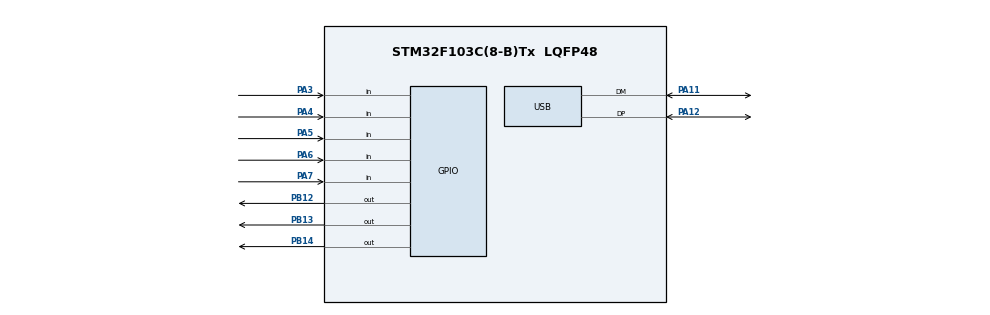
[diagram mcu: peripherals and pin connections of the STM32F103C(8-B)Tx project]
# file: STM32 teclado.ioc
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Mcu.Family=STM32F1
Mcu.Name=STM32F103C(8-B)Tx
Mcu.Package=LQFP48
NVIC.PriorityGroup=NVIC_PRIORITYGROUP_4
NVIC.USB_LP_CAN1_RX0_IRQn=true\:0\:0\:false\:false\:true\:false\:true\:true
PA11.Mode=Device
PA11.Signal=USB_DM
PA12.Mode=Device
PA12.Signal=USB_DP
PA13.Mode=Serial_Wire
PA13.Signal=SYS_JTMS-SWDIO
PA14.Mode=Serial_Wire
PA14.Signal=SYS_JTCK-SWCLK
PA3.Signal=GPIO_Input
PA4.Signal=GPIO_Input
PA5.Signal=GPIO_Input
PA6.Signal=GPIO_Input
PA7.Signal=GPIO_Input
PB12.Signal=GPIO_Output
PB13.Signal=GPIO_Output
PB14.Signal=GPIO_Output
PD0-OSC_IN.Mode=HSE-External-Oscillator
PD0-OSC_IN.Signal=RCC_OSC_IN
PD1-OSC_OUT.Mode=HSE-External-Oscillator
PD1-OSC_OUT.Signal=RCC_OSC_OUT
ProjectManager.HeapSize=0x200
ProjectManager.StackSize=0x400
ProjectManager.TargetToolchain=STM32CubeIDE
RCC.AHBFreq_Value=48000000
RCC.APB1CLKDivider=RCC_HCLK_DIV2
RCC.APB1Freq_Value=24000000
RCC.APB1TimFreq_Value=48000000
RCC.APB2Freq_Value=48000000
RCC.APB2TimFreq_Value=48000000
RCC.HCLKFreq_Value=48000000
RCC.PLLMUL=RCC_PLL_MUL6
RCC.SYSCLKFreq_VALUE=48000000
RCC.SYSCLKSource=RCC_SYSCLKSOURCE_PLLCLK
RCC.USBFreq_Value=48000000
USB_DEVICE.CLASS_NAME_FS=HID
USB_DEVICE.VirtualMode=Hid
USB_DEVICE.VirtualModeFS=Hid_FS
VP_USB_DEVICE_VS_USB_DEVICE_HID_FS.Mode=HID_FS
board=custom

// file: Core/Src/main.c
	/* USER CODE BEGIN Header */
	/**
	  ******************************************************************************
	  * @file           : main.c
	  * @brief          : Main program body
	  ******************************************************************************
	  * @attention
	  *
	  * Copyright (c) 2025 STMicroelectronics.
	  * All rights reserved.
	  *
	  * This software is licensed under terms that can be found in the LICENSE file
	  * in the root directory of this software component.
	  * If no LICENSE file comes with this software, it is provided AS-IS.
	  *
	  ******************************************************************************
	  */
	/* USER CODE END Header */
	/* Includes ------------------------------------------------------------------*/
	#include "main.h"
	#include "usb_device.h"

	/* Private includes ----------------------------------------------------------*/

	/* Private typedef -----------------------------------------------------------*/

	/* Private define ------------------------------------------------------------*/

	/* Private macro -------------------------------------------------------------*/

	/* Private variables ---------------------------------------------------------*/

	/* USER CODE BEGIN PV */
	extern USBD_HandleTypeDef hUsbDeviceFS;

	typedef struct
	{
		uint8_t MODIFIER;
		uint8_t RESERVED;
		uint8_t KEYCODE1;
		uint8_t KEYCODE2;
		uint8_t KEYCODE3;
		uint8_t KEYCODE4;
		uint8_t KEYCODE5;
		uint8_t KEYCODE6;
	}subKeyBoard;

	subKeyBoard keyBoardHIDsub = {0,0,0,0,0,0,0,0};

	/* USER CODE END PV */

	/* Private function prototypes -----------------------------------------------*/
	void SystemClock_Config(void);
	static void MX_GPIO_Init(void);

	/* Private user code ---------------------------------------------------------*/
	/* USER CODE BEGIN 0 */

	void typeOnKeyboard(char cmd[]){

		for(int i = 0; i < strlen(cmd); i++) {
			char charToType = cmd[i];
			uint8_t KEYCODE = 0x00;
			uint8_t MODIFIER = 0x00;

			switch(charToType) {
				case 'A': KEYCODE = 0x04; MODIFIER=0x02; break;
				case 'B': KEYCODE = 0x05; MODIFIER=0x02; break;
				case 'C': KEYCODE = 0x06; MODIFIER=0x02; break;
				case 'D': KEYCODE = 0x07; MODIFIER=0x02; break;
				//case 'E': KEYCODE = 0x08; MODIFIER=0x02; break;
				case 'F': KEYCODE = 0x09; MODIFIER=0x02; break;
				case 'G': KEYCODE = 0x0A; MODIFIER=0x02; break;
				case 'H': KEYCODE = 0x0B; MODIFIER=0x02; break;
				case 'I': KEYCODE = 0x0C; MODIFIER=0x02; break;
				case 'J': KEYCODE = 0x0D; MODIFIER=0x02; break;
				case 'K': KEYCODE = 0x0E; MODIFIER=0x02; break;
				case 'L': KEYCODE = 0x0F; MODIFIER=0x02; break;
				case 'M': KEYCODE = 0x10; MODIFIER=0x02; break;
				//case 'N': KEYCODE = 0x11; MODIFIER=0x02; break;
				case 'O': KEYCODE = 0x12; MODIFIER=0x02; break;
				case 'P': KEYCODE = 0x13; MODIFIER=0x02; break;
				case 'Q': KEYCODE = 0x14; MODIFIER=0x02; break;
				case 'R': KEYCODE = 0x15; MODIFIER=0x02; break;
				case 'S': KEYCODE = 0x16; MODIFIER=0x02; break;
				case 'T': KEYCODE = 0x17; MODIFIER=0x02; break;
				case 'U': KEYCODE = 0x18; MODIFIER=0x02; break;
				case 'V': KEYCODE = 0x19; MODIFIER=0x02; break;
				case 'W': KEYCODE = 0x1A; MODIFIER=0x02; break;
				case 'X': KEYCODE = 0x1B; MODIFIER=0x02; break;
				case 'Y': KEYCODE = 0x1C; MODIFIER=0x02; break;
				case 'Z': KEYCODE = 0x1D; MODIFIER=0x02; break;
				case 'a': KEYCODE = 0x04; break;
				case 'b': KEYCODE = 0x05; break;
				case 'c': KEYCODE = 0x06; break;
				case 'd': KEYCODE = 0x07; break;
				case 'e': KEYCODE = 0x08; break;
				case 'f': KEYCODE = 0x09; break;
				case 'g': KEYCODE = 0x0A; break;
				case 'h': KEYCODE = 0x0B; break;
				case 'i': KEYCODE = 0x0C; break;
				case 'j': KEYCODE = 0x0D; break;
				case 'k': KEYCODE = 0x0E; break;
				case 'l': KEYCODE = 0x0F; break;
				case 'm': KEYCODE = 0x10; break;
				case 'n': KEYCODE = 0x11; break;
				case 'o': KEYCODE = 0x12; break;
				case 'p': KEYCODE = 0x13; break;
				case 'q': KEYCODE = 0x14; break;
				case 'r': KEYCODE = 0x15; break;
				case 's': KEYCODE = 0x16; break;
				case 't': KEYCODE = 0x17; break;
				case 'u': KEYCODE = 0x18; break;
				case 'v': KEYCODE = 0x19; break;
				case 'w': KEYCODE = 0x1A; break;
				case 'x': KEYCODE = 0x1B; break;
				case 'y': KEYCODE = 0x1C; break;
				case 'z': KEYCODE = 0x1D; break;
				case ' ': KEYCODE = 0x2C; break;
				case ';': KEYCODE = 0x33; break; // semi-colon
				case ':': KEYCODE = 0x33; MODIFIER=0x02; break; // colon
				case '\'': KEYCODE = 0x34; break; // single quote
				case '\"': KEYCODE = 0x34; MODIFIER=0x02; break; // double quote
				case 'N': KEYCODE = 0x53; break;//numb lock     apartir daqui é o teclaod numerico
				case '-': KEYCODE = 0x56; break;
				case '+': KEYCODE = 0x57; break;
				case 'E': KEYCODE = 0x58; break; //Enter
				case '1': KEYCODE = 0x59; break;
				case '2': KEYCODE = 0x5A; break;
				case '3': KEYCODE = 0x5B; break;
				case '4': KEYCODE = 0x5C; break;
				case '5': KEYCODE = 0x5D; break;
				case '6': KEYCODE = 0x5E; break;
				case '7': KEYCODE = 0x5F; break;
				case '8': KEYCODE = 0x60; break;
				case '9': KEYCODE = 0x61; break;
				case '0': KEYCODE = 0x62; break;
				case ',': KEYCODE = 0x63; break;//aqui acaba o que vamos usar
				case '/': KEYCODE = 0x38; break; // slash
				case '.': KEYCODE = 0x37; break; // slash
				default: KEYCODE = 0x00; break; // Default case for undefined characters
			}

			 keyBoardHIDsub.MODIFIER=MODIFIER;  // To press shift key
			 keyBoardHIDsub.KEYCODE1=KEYCODE;

			 USBD_HID_SendReport(&hUsbDeviceFS,&keyBoardHIDsub,sizeof(keyBoardHIDsub));
			 HAL_Delay(25);

			 keyBoardHIDsub.MODIFIER=0x00;
			 keyBoardHIDsub.KEYCODE1=0x00;

			 USBD_HID_SendReport(&hUsbDeviceFS,&keyBoardHIDsub,sizeof(keyBoardHIDsub));
			 HAL_Delay(25);
		}

	}

	void keyPressRelease(uint8_t KEYCODE){
	    keyBoardHIDsub.MODIFIER = 0x00;   // sempre sem shift
	    keyBoardHIDsub.KEYCODE1 = KEYCODE;

	    USBD_HID_SendReport(&hUsbDeviceFS, &keyBoardHIDsub, sizeof(keyBoardHIDsub));
	    HAL_Delay(25);

	    keyBoardHIDsub.MODIFIER = 0x00;
	    keyBoardHIDsub.KEYCODE1 = 0x00;

	    USBD_HID_SendReport(&hUsbDeviceFS, &keyBoardHIDsub, sizeof(keyBoardHIDsub));
	    HAL_Delay(25);
	}

	/* USER CODE END 0 */

	/**
	  * @brief  The application entry point.
	  * @retval int
	  */
	int main(void)
	{

	  /* MCU Configuration--------------------------------------------------------*/

	  /* Reset of all peripherals, Initializes the Flash interface and the Systick. */
	  HAL_Init();

	  /* Configure the system clock */
	  SystemClock_Config();

	  /* Initialize all configured peripherals */
	  MX_GPIO_Init();
	  MX_USB_DEVICE_Init();

	  /* Infinite loop */
	  while (1)
	  {
		  // ---- COLUNA 1 (PB12) ----
			 HAL_GPIO_WritePin(GPIOB, GPIO_PIN_12, GPIO_PIN_SET);  // ativa coluna 1

			 if (HAL_GPIO_ReadPin(GPIOA, GPIO_PIN_3) == GPIO_PIN_SET) {
				 keyPressRelease(0x62); //0
			 }
			 if (HAL_GPIO_ReadPin(GPIOA, GPIO_PIN_4) == GPIO_PIN_SET) {
				 keyPressRelease(0x59); //1
			 }
			 if (HAL_GPIO_ReadPin(GPIOA, GPIO_PIN_5) == GPIO_PIN_SET) {
				 keyPressRelease(0x5C); //4
			 }
			 if (HAL_GPIO_ReadPin(GPIOA, GPIO_PIN_6) == GPIO_PIN_SET) {
				 keyPressRelease(0x5F); //7
			 }
			 if (HAL_GPIO_ReadPin(GPIOA, GPIO_PIN_7) == GPIO_PIN_SET) {
				 keyPressRelease(0x56); //-
			 }

			 HAL_GPIO_WritePin(GPIOB, GPIO_PIN_12, GPIO_PIN_RESET); // desliga coluna 1
			 HAL_Delay(1);

			 // ---- COLUNA 2 (PB13) ----
			 HAL_GPIO_WritePin(GPIOB, GPIO_PIN_13, GPIO_PIN_SET);

			 if (HAL_GPIO_ReadPin(GPIOA, GPIO_PIN_3) == GPIO_PIN_SET) {
				 keyPressRelease(0x63);//,
			 }
			 if (HAL_GPIO_ReadPin(GPIOA, GPIO_PIN_4) == GPIO_PIN_SET) {
				 keyPressRelease(0x5A);//2
			 }
			 if (HAL_GPIO_ReadPin(GPIOA, GPIO_PIN_5) == GPIO_PIN_SET) {
				 keyPressRelease(0x5D);//5
			 }
			 if (HAL_GPIO_ReadPin(GPIOA, GPIO_PIN_6) == GPIO_PIN_SET) {
				 keyPressRelease(0x60);//8
			 }
			 if (HAL_GPIO_ReadPin(GPIOA, GPIO_PIN_7) == GPIO_PIN_SET) {
				 keyPressRelease(0x57);//+
			 }

			 HAL_GPIO_WritePin(GPIOB, GPIO_PIN_13, GPIO_PIN_RESET);
			 HAL_Delay(1);

			 // ---- COLUNA 3 (PB14) ----
			 HAL_GPIO_WritePin(GPIOB, GPIO_PIN_14, GPIO_PIN_SET);

			 if (HAL_GPIO_ReadPin(GPIOA, GPIO_PIN_3) == GPIO_PIN_SET) {
				 keyPressRelease(0x58); //enter
			 }
			 if (HAL_GPIO_ReadPin(GPIOA, GPIO_PIN_4) == GPIO_PIN_SET) {
				 keyPressRelease(0x5B); //3
			 }
			 if (HAL_GPIO_ReadPin(GPIOA, GPIO_PIN_5) == GPIO_PIN_SET) {
				 keyPressRelease(0x5E); //6
			 }
			 if (HAL_GPIO_ReadPin(GPIOA, GPIO_PIN_6) == GPIO_PIN_SET) {
				 keyPressRelease(0x61); //9
			 }
			 if (HAL_GPIO_ReadPin(GPIOA, GPIO_PIN_7) == GPIO_PIN_SET) {
				 keyPressRelease(0x53); //numb lock
			 }

			 HAL_GPIO_WritePin(GPIOB, GPIO_PIN_14, GPIO_PIN_RESET);
			 HAL_Delay(1);
	  }
	}

	/**
	  * @brief System Clock Configuration
	  * @retval None
	  */
	void SystemClock_Config(void)
	{
	  RCC_OscInitTypeDef RCC_OscInitStruct = {0};
	  RCC_ClkInitTypeDef RCC_ClkInitStruct = {0};
	  RCC_PeriphCLKInitTypeDef PeriphClkInit = {0};

	  /** Initializes the RCC Oscillators according to the specified parameters
	  * in the RCC_OscInitTypeDef structure.
	  */
	  RCC_OscInitStruct.OscillatorType = RCC_OSCILLATORTYPE_HSE;
	  RCC_OscInitStruct.HSEState = RCC_HSE_ON;
	  RCC_OscInitStruct.HSEPredivValue = RCC_HSE_PREDIV_DIV1;
	  RCC_OscInitStruct.HSIState = RCC_HSI_ON;
	  RCC_OscInitStruct.PLL.PLLState = RCC_PLL_ON;
	  RCC_OscInitStruct.PLL.PLLSource = RCC_PLLSOURCE_HSE;
	  RCC_OscInitStruct.PLL.PLLMUL = RCC_PLL_MUL6;
	  if (HAL_RCC_OscConfig(&RCC_OscInitStruct) != HAL_OK)
	  {
		Error_Handler();
	  }

	  /** Initializes the CPU, AHB and APB buses clocks
	  */
	  RCC_ClkInitStruct.ClockType = RCC_CLOCKTYPE_HCLK|RCC_CLOCKTYPE_SYSCLK
								  |RCC_CLOCKTYPE_PCLK1|RCC_CLOCKTYPE_PCLK2;
	  RCC_ClkInitStruct.SYSCLKSource = RCC_SYSCLKSOURCE_PLLCLK;
	  RCC_ClkInitStruct.AHBCLKDivider = RCC_SYSCLK_DIV1;
	  RCC_ClkInitStruct.APB1CLKDivider = RCC_HCLK_DIV2;
	  RCC_ClkInitStruct.APB2CLKDivider = RCC_HCLK_DIV1;

	  if (HAL_RCC_ClockConfig(&RCC_ClkInitStruct, FLASH_LATENCY_1) != HAL_OK)
	  {
		Error_Handler();
	  }
	  PeriphClkInit.PeriphClockSelection = RCC_PERIPHCLK_USB;
	  PeriphClkInit.UsbClockSelection = RCC_USBCLKSOURCE_PLL;
	  if (HAL_RCCEx_PeriphCLKConfig(&PeriphClkInit) != HAL_OK)
	  {
		Error_Handler();
	  }
	}

	/**
	  * @brief GPIO Initialization Function
	  * @param None
	  * @retval None
	  */
	static void MX_GPIO_Init(void)
	{
	  GPIO_InitTypeDef GPIO_InitStruct = {0};

	  /* GPIO Ports Clock Enable */
	  __HAL_RCC_GPIOD_CLK_ENABLE();
	  __HAL_RCC_GPIOA_CLK_ENABLE();
	  __HAL_RCC_GPIOB_CLK_ENABLE();

	  /*Configure GPIO pin Output Level */
	  HAL_GPIO_WritePin(GPIOB, GPIO_PIN_12|GPIO_PIN_13|GPIO_PIN_14, GPIO_PIN_RESET);

	  /*Configure GPIO pins : PA3 PA4 PA5 PA6
							   PA7 */
	  GPIO_InitStruct.Pin = GPIO_PIN_3|GPIO_PIN_4|GPIO_PIN_5|GPIO_PIN_6
							  |GPIO_PIN_7;
	  GPIO_InitStruct.Mode = GPIO_MODE_INPUT;
	  GPIO_InitStruct.Pull = GPIO_NOPULL;
	  HAL_GPIO_Init(GPIOA, &GPIO_InitStruct);

	  /*Configure GPIO pins : PB12 PB13 PB14 */
	  GPIO_InitStruct.Pin = GPIO_PIN_12|GPIO_PIN_13|GPIO_PIN_14;
	  GPIO_InitStruct.Mode = GPIO_MODE_OUTPUT_PP;
	  GPIO_InitStruct.Pull = GPIO_NOPULL;
	  GPIO_InitStruct.Speed = GPIO_SPEED_FREQ_LOW;
	  HAL_GPIO_Init(GPIOB, &GPIO_InitStruct);

	}

	/**
	  * @brief  This function is executed in case of error occurrence.
	  * @retval None
	  */
	void Error_Handler(void)
	{
	  __disable_irq();
	  while (1)
	  {
	  }
	}
	#ifdef USE_FULL_ASSERT
	/**
	  * @brief  Reports the name of the source file and the source line number
	  *         where the assert_param error has occurred.
	  * @param  file: pointer to the source file name
	  * @param  line: assert_param error line source number
	  * @retval None
	  */
	void assert_failed(uint8_t *file, uint32_t line)
	{
	}
	#endif /* USE_FULL_ASSERT */
